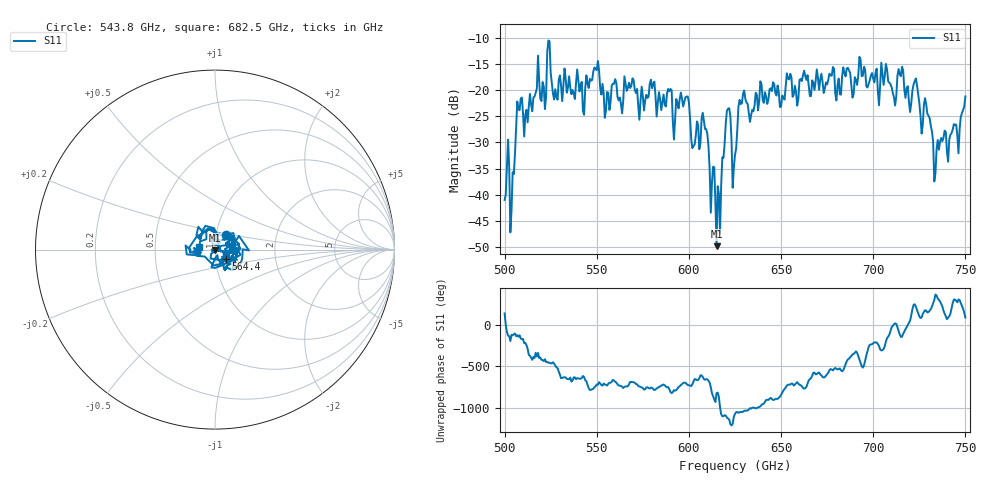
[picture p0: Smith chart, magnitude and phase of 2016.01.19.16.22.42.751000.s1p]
!Created with skrf (http://scikit-rf.org).
# GHz S RI R 50.0
!freq ReS11 ImS11
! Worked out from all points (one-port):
!   401 points, 500 GHz to 750 GHz, reference 50 ohm
!   lowest |S11| = -49.8 dB at 615 GHz (marker M1), VSWR 1.01, Z = 49.9 - j0.317 ohm
!   |S11| at or under -10 dB: start of sweep to end of sweep
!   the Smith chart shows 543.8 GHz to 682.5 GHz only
!   S11 on the Smith chart (normalised r, x): 543.8 GHz: 1.12, +0.19; 564.4 GHz: 1.12, -0.12; 682.5 GHz: 0.84, +0.02
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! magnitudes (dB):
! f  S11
! 500 GHz  -41.0
! 504.4 GHz  -35.7
! 508.1 GHz  -23.9
! 521.2 GHz  -19.3
! 524.4 GHz  -10.7
! 527.5 GHz  -19.8
! 531.2 GHz  -22.1
! 543.8 GHz  -19.6
! 550 GHz  -16.2
! 562.5 GHz  -21.4
! 564.4 GHz  -21.9
! 593.8 GHz  -22.4
! 598.8 GHz  -21.2
! 602.5 GHz  -30.7
! 608.1 GHz  -25.8
! 615 GHz  -49.8
! 616.2 GHz  -39.8
! 621.2 GHz  -23.6
! 625 GHz  -32.4
! 628.8 GHz  -22.5
! 656.2 GHz  -21.3
! 682.5 GHz  -20.9
! 687.5 GHz  -16.8
! 715 GHz  -17.4
! 718.8 GHz  -19.3
! 723.1 GHz  -17.8
! 734.4 GHz  -31.3
! 750 GHz  -21.2
